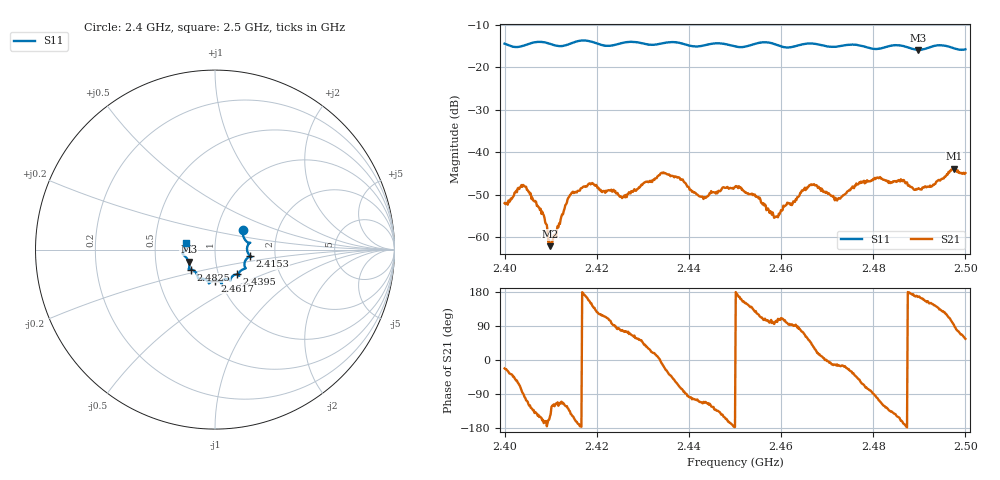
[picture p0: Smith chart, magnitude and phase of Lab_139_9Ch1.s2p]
# Hz S RI R 50
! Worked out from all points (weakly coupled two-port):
!   601 points, 2.4 GHz to 2.5 GHz, reference 50 ohm
!   highest |S21| = -43.83 dB at 2.4975 GHz (marker M1); lowest = -62.1 dB at 2.4098 GHz (marker M2)
!   lowest |S11| = -15.8 dB at 2.4897 GHz (marker M3), VSWR 1.38, Z = 36.9 - j5.14 ohm
!   |S11| at or under -10 dB: start of sweep to end of sweep
!   S12 and S22 are empty: the file has one direction only
!   S11 on the Smith chart (normalised r, x): 2.4 GHz: 1.33, +0.30; 2.4153 GHz: 1.48, -0.11; 2.4395 GHz: 1.22, -0.35; 2.4617 GHz: 0.94, -0.33; 2.4825 GHz: 0.75, -0.17; 2.5 GHz: 0.72, +0.05
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2.4e9  0.1564 0.1089  0.00233 -0.00095  0 0  0 0
2.4045e9  0.1784 0.0426  -0.000703 -0.00387  0 0  0 0
2.408167e9  0.1956 0.0385  -0.00187 -0.000698  0 0  0 0
2.409833e9  0.1874 0.0312  -0.000673 -0.0004  0 0  0 0
2.414167e9  0.188 -0.0265  -0.00222 -0.0022  0 0  0 0
2.415333e9  0.1966 -0.0371  -0.00318 -0.00123  0 0  0 0
2.416667e9  0.2034 -0.0413  -0.00377 -0.00025  0 0  0 0
2.426e9  0.1691 -0.1008  0.000731 0.00301  0 0  0 0
2.433333e9  0.133 -0.1333  0.00523 0.000625  0 0  0 0
2.4395e9  0.1227 -0.1381  -6.64e-06 -0.00411  0 0  0 0
2.443167e9  0.0897 -0.1575  -0.000989 -0.00264  0 0  0 0
2.45e9  0.0663 -0.1641  -0.00388 -0.000215  0 0  0 0
2.458833e9  0.0333 -0.1834  -0.000382 0.00169  0 0  0 0
2.461667e9  0.000767 -0.1722  -0.000133 0.0025  0 0  0 0
2.466667e9  -0.0339 -0.1886  0.00311 0.00269  0 0  0 0
2.472167e9  -0.0692 -0.1618  0.00265 -0.000548  0 0  0 0
2.4775e9  -0.0962 -0.1517  0.00206 -0.00386  0 0  0 0
2.4825e9  -0.1321 -0.1111  -0.00249 -0.00399  0 0  0 0
2.483333e9  -0.1394 -0.1102  -0.0029 -0.00325  0 0  0 0
2.489667e9  -0.1463 -0.0678  -0.0036 0.000871  0 0  0 0
2.4975e9  -0.1682 -0.0046  -0.000326 0.00642  0 0  0 0
2.5e9  -0.16 0.0347  0.00319 0.00472  0 0  0 0
